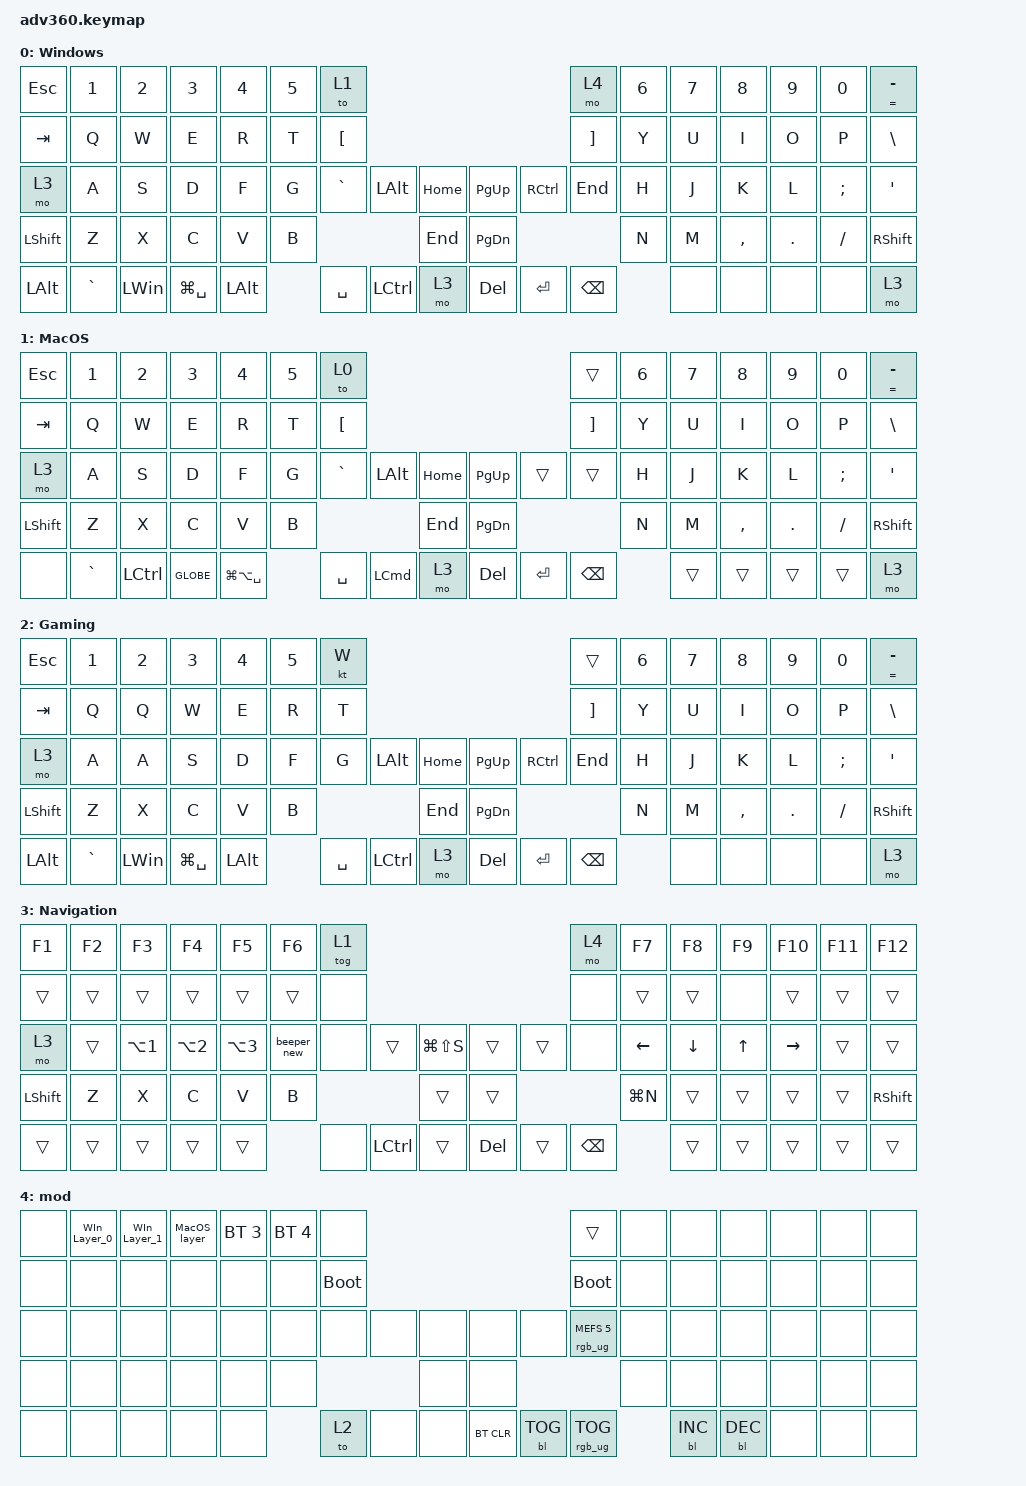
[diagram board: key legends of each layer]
#include <behaviors.dtsi>
#include <dt-bindings/zmk/backlight.h>
#include <dt-bindings/zmk/bt.h>
#include <dt-bindings/zmk/keys.h>
#include <dt-bindings/zmk/rgb.h>

/ {
    behaviors {
        #include "macros.dtsi"
      #include "version.dtsi"

        hm: homerow_mods {
            compatible = "zmk,behavior-hold-tap";
            label = "HOMEROW_MODS";
            #binding-cells = <2>;
            tapping-term-ms = <200>;
            quick_tap_ms = <175>;
            flavor = "tap-preferred";
            bindings = <&kp>, <&kp>;
        };
    };

    macros {
        MacOS_layer: MacOS_layer {
            compatible = "zmk,behavior-macro";
            #binding-cells = <0>;
            bindings = <&bt BT_SEL 2 &to 1>;
            label = "MACOS_LAYER";
        };

        WIn_Layer_0: WIn_Layer {
            compatible = "zmk,behavior-macro";
            #binding-cells = <0>;
            bindings = <&bt BT_SEL 0 &to 0>;
            label = "WIN_LAYER";
        };

        WIn_Layer_1: WIn_Layer_1 {
            compatible = "zmk,behavior-macro";
            #binding-cells = <0>;
            bindings = <&bt BT_SEL 1 &to 0>;
            label = "WIN_LAYER_1";
        };

        beeper_new: beeper_new {
            compatible = "zmk,behavior-macro";
            #binding-cells = <0>;
            bindings = <&kp LG(B) &kp LC(U)>;
            label = "BEEPER_NEW";
        };
    };

    keymap {
        compatible = "zmk,keymap";

        Windows {
            bindings = <
&kp ESC       &kp N1     &kp N2        &kp N3         &kp N4        &kp N5  &to 1                                                                   &mo 4              &kp N6  &kp N7  &kp N8     &kp N9   &kp N0    &hm EQUAL MINUS
&kp TAB       &kp Q      &kp W         &kp E          &kp R         &kp T   &kp LEFT_BRACKET                                                        &kp RIGHT_BRACKET  &kp Y   &kp U   &kp I      &kp O    &kp P     &kp BSLH
&mo 3         &kp A      &kp S         &kp D          &kp F         &kp G   &kp GRAVE         &kp LEFT_ALT  &kp HOME      &kp PAGE_UP    &kp RCTRL  &kp END            &kp H   &kp J   &kp K      &kp L    &kp SEMI  &kp SQT
&kp LSHFT     &kp Z      &kp X         &kp C          &kp V         &kp B                                   &kp END       &kp PAGE_DOWN                                &kp N   &kp M   &kp COMMA  &kp DOT  &kp FSLH  &kp RSHFT
&kp LEFT_ALT  &kp GRAVE  &kp LEFT_WIN  &kp LG(SPACE)  &kp LEFT_ALT          &kp SPACE         &kp LCTRL     &mo 3         &kp DEL        &kp ENTER  &kp BACKSPACE              &none   &none      &none    &none     &mo 3
            >;
        };

        MacOS {
            bindings = <
&kp ESC    &kp N1     &kp N2            &kp N3     &kp N4             &kp N5  &to 0                                                                       &trans             &kp N6  &kp N7  &kp N8     &kp N9   &kp N0    &hm EQUAL MINUS
&kp TAB    &kp Q      &kp W             &kp E      &kp R              &kp T   &kp LEFT_BRACKET                                                            &kp RIGHT_BRACKET  &kp Y   &kp U   &kp I      &kp O    &kp P     &kp BSLH
&mo 3      &kp A      &kp S             &kp D      &kp F              &kp G   &kp GRAVE         &kp LALT          &kp HOME      &kp PAGE_UP    &trans     &trans             &kp H   &kp J   &kp K      &kp L    &kp SEMI  &kp SQT
&kp LSHFT  &kp Z      &kp X             &kp C      &kp V              &kp B                                       &kp END       &kp PAGE_DOWN                                &kp N   &kp M   &kp COMMA  &kp DOT  &kp FSLH  &kp RSHFT
&none      &kp GRAVE  &kp LEFT_CONTROL  &kp GLOBE  &kp LG(LA(SPACE))          &kp SPACE         &kp LEFT_COMMAND  &mo 3         &kp DEL        &kp ENTER  &kp BSPC                   &trans  &trans     &trans   &trans    &mo 3
            >;
        };

        Gaming {
            bindings = <
&kp ESC       &kp N1     &kp N2        &kp N3         &kp N4        &kp N5  &kt W                                                            &trans             &kp N6  &kp N7  &kp N8     &kp N9   &kp N0    &hm EQUAL MINUS
&kp TAB       &kp Q      &kp Q         &kp W          &kp E         &kp R   &kp T                                                            &kp RIGHT_BRACKET  &kp Y   &kp U   &kp I      &kp O    &kp P     &kp BSLH
&mo 3         &kp A      &kp A         &kp S          &kp D         &kp F   &kp G      &kp LEFT_ALT  &kp HOME      &kp PAGE_UP    &kp RCTRL  &kp END            &kp H   &kp J   &kp K      &kp L    &kp SEMI  &kp SQT
&kp LSHFT     &kp Z      &kp X         &kp C          &kp V         &kp B                            &kp END       &kp PAGE_DOWN                                &kp N   &kp M   &kp COMMA  &kp DOT  &kp FSLH  &kp RSHFT
&kp LEFT_ALT  &kp GRAVE  &kp LEFT_WIN  &kp LG(SPACE)  &kp LEFT_ALT          &kp SPACE  &kp LCTRL     &mo 3         &kp DEL        &kp ENTER  &kp BACKSPACE              &none   &none      &none    &none     &mo 3
            >;
        };

        Navigation {
            bindings = <
&kp F1          &kp F2  &kp F3            &kp F4            &kp F5            &kp F6       &tog 1                                                        &mo 4          &kp F7          &kp F8    &kp F9        &kp F10          &kp F11  &kp F12
&trans          &trans  &trans            &trans            &trans            &trans       &none                                                         &none          &trans          &trans    &none         &trans           &trans   &trans
&mo 3           &trans  &kp LA(NUMBER_1)  &kp LA(NUMBER_2)  &kp LA(NUMBER_3)  &beeper_new  &none   &trans            &kp LG(LS(S))      &trans   &trans  &none          &kp LEFT_ARROW  &kp DOWN  &kp UP_ARROW  &kp RIGHT_ARROW  &trans   &trans
&kp LEFT_SHIFT  &kp Z   &kp X             &kp C             &kp V             &kp B                                  &trans             &trans                          &kp LG(N)       &trans    &trans        &trans           &trans   &kp RIGHT_SHIFT
&trans          &trans  &trans            &trans            &trans                         &none   &kp LEFT_CONTROL  &trans             &kp DEL  &trans  &kp BACKSPACE                  &trans    &trans        &trans           &trans   &trans
            >;
        };

        mod {
            bindings = <
&none  &WIn_Layer_0  &WIn_Layer_1  &MacOS_layer  &bt BT_SEL 3  &bt BT_SEL 4  &none                                                  &trans                  &none  &none       &none       &none  &none  &none
&none  &none         &none         &none         &none         &none         &bootloader                                            &bootloader             &none  &none       &none       &none  &none  &none
&none  &none         &none         &none         &none         &none         &none        &none  &none      &none       &none       &rgb_ug RGB_MEFS_CMD 5  &none  &none       &none       &none  &none  &none
&none  &none         &none         &none         &none         &none                             &none      &none                                           &none  &none       &none       &none  &none  &none
&none  &none         &none         &none         &none                       &to 2        &none  &none      &bt BT_CLR  &bl BL_TOG  &rgb_ug RGB_TOG                &bl BL_INC  &bl BL_DEC  &none  &none  &none
            >;
        };
    };
};
